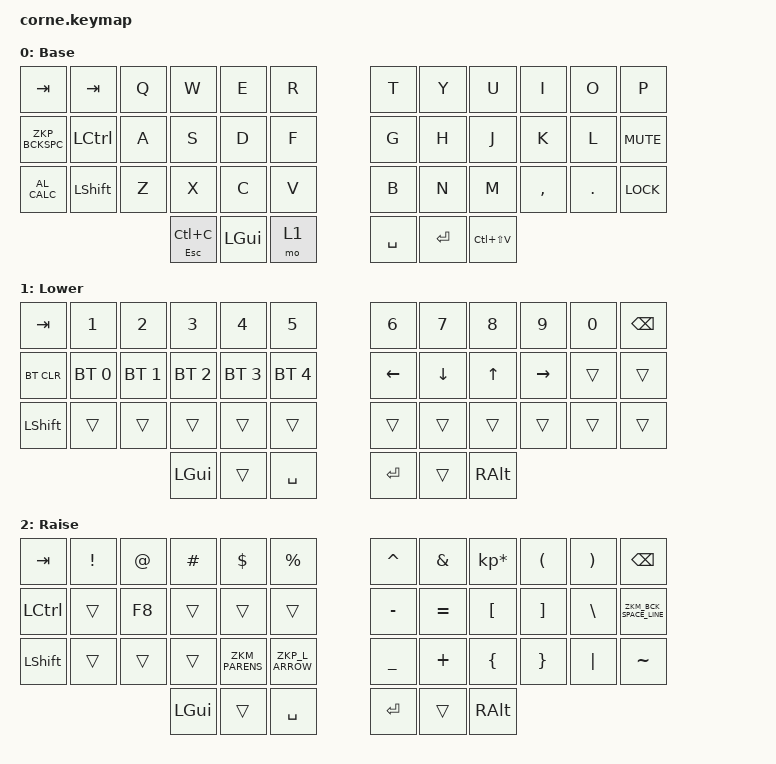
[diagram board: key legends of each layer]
/*
 * Copyright (c) 2020 The ZMK Contributors
 *
 * SPDX-License-Identifier: MIT
 */

#include <behaviors.dtsi>
#include <dt-bindings/zmk/bt.h>
#include <dt-bindings/zmk/keys.h>

/ {
    behaviors {
        ZBT_SEL_1: ZBT_SEL_1 {
            compatible = "zmk,behavior-tap-dance";
            label = "ZBT_SEL_1";
            #binding-cells = <0>;
            bindings = <&bt BT_SEL 1>, <&bt BT_CLR_ALL>;

            tapping-term-ms = <125>;
        };

        ZLAYER1: ZLAYER1 {
            compatible = "zmk,behavior-tap-dance";
            label = "ZLAYER1";
            #binding-cells = <0>;
            bindings = <&mo 1>, <&tog 2>;

            tapping-term-ms = <150>;
        };

        ZKP_BCKSPC: ZKP_BCKSPC {
            compatible = "zmk,behavior-tap-dance";
            label = "ZKP_BCKSPC";
            #binding-cells = <0>;
            bindings = <&kp BACKSPACE>, <&kp LC(BACKSPACE)>;

            tapping-term-ms = <200>;
        };

        ZKP_L_ARROW: ZKP_L_ARROW {
            compatible = "zmk,behavior-tap-dance";
            label = "ZKP_L_ARROW";
            #binding-cells = <0>;
            bindings = <&kp LEFT_ARROW>, <&kp LC(LS(LEFT_ARROW))>;

            tapping-term-ms = <200>;
        };

        ZKP_PARENS: ZKP_PARENS {
            compatible = "zmk,behavior-tap-dance";
            label = "ZKP_PARENS";
            #binding-cells = <0>;
            bindings = <&kp LEFT_PARENTHESIS>, <&ZKM_PARENS>;

            tapping-term-ms = <200>;
        };

        new_behavior: ZKP_9 {
            compatible = "zmk,behavior-mod-morph";
            label = "NEW_BEHAVIOR";
            bindings = <&kp N9>, <&unicode 2079>;

            #binding-cells = <0>;
            mods = <(MOD_LSFT)>;
            keep-mods = <(MOD_LSFT)>;
        };
    };

    macros {
        ZKM_PARENS: ZKM_PARENS {
            compatible = "zmk,behavior-macro";
            #binding-cells = <0>;
            bindings = <&kp LEFT_PARENTHESIS &kp RIGHT_PARENTHESIS &kp LEFT>;
            label = "ZKM_PARENS";
        };

        ZKM_BCK_SPACE_LINE: ZKM_BCK_SPACE_LINE {
            compatible = "zmk,behavior-macro";
            #binding-cells = <0>;
            bindings = <&kp LC(LS(LEFT)) &kp BACKSPACE>;
            label = "ZKM_BCK_SPACE_LINE";
        };
    };

    keymap {
        compatible = "zmk,keymap";

        default_layer {
            // -----------------------------------------------------------------------------------------
            // |  TAB | |  TAB |  Q  |  W  |  E  |  R  |  T  |   |  Y  |  U   |  I  |  O  |  P  | BKSP |
            // | CTRL |  A  |  S  |  D  |  F  |  G  |   |  H  |  J   |  K  |  L  |  ;  |  '   |
            // | SHFT |  Z  |  X  |  C  |  V  |  B  |   |  N  |  M   |  ,  |  .  |  /  | ESC  |
            //                    | GUI | LWR | SPC |   | ENT | RSE  | ALT |

            display-name = "Base";
            bindings = <
&kp TAB        &kp TAB    &kp Q  &kp W          &kp E     &kp R    &kp T      &kp Y    &kp U          &kp I      &kp O    &kp P
&ZKP_BCKSPC    &kp LCTRL  &kp A  &kp S          &kp D     &kp F    &kp G      &kp H    &kp J          &kp K      &kp L    &kp C_MUTE
&kp C_AL_CALC  &kp LSHFT  &kp Z  &kp X          &kp C     &kp V    &kp B      &kp N    &kp M          &kp COMMA  &kp DOT  &kp K_LOCK
                                 &mt ESC LC(C)  &kp LGUI  &mo 1    &kp SPACE  &kp RET  &kp LC(LS(V))
            >;
        };

        lower_layer {
            // -----------------------------------------------------------------------------------------
            // |  TAB |  1  |  2  |  3  |  4  |  5  |   |  6  |  7  |  8  |  9  |  0  | BKSP |
            // | BTCLR| BT1 | BT2 | BT3 | BT4 | BT5 |   | LFT | DWN |  UP | RGT |     |      |
            // | SHFT |     |     |     |     |     |   |     |     |     |     |     |      |
            //                    | GUI |     | SPC |   | ENT |     | ALT |

            display-name = "Lower";
            bindings = <
&kp TAB     &kp N1        &kp N2        &kp N3        &kp N4        &kp N5          &kp N6    &kp N7    &kp N8    &kp N9     &kp N0  &kp BSPC
&bt BT_CLR  &bt BT_SEL 0  &bt BT_SEL 1  &bt BT_SEL 2  &bt BT_SEL 3  &bt BT_SEL 4    &kp LEFT  &kp DOWN  &kp UP    &kp RIGHT  &trans  &trans
&kp LSHFT   &trans        &trans        &trans        &trans        &trans          &trans    &trans    &trans    &trans     &trans  &trans
                                        &kp LGUI      &trans        &kp SPACE       &kp RET   &trans    &kp RALT
            >;
        };

        raise_layer {
            // -----------------------------------------------------------------------------------------
            // |  TAB |  !  |  @  |  #  |  $  |  %  |   |  ^  |  &  |  *  |  (  |  )  | BKSP |
            // | CTRL |     |     |     |     |     |   |  -  |  =  |  [  |  ]  |  \  |  `   |
            // | SHFT |     |     |     |     |     |   |  _  |  +  |  {  |  }  | "|" |  ~   |
            //                    | GUI |     | SPC |   | ENT |     | ALT |

            display-name = "Raise";
            bindings = <
&kp TAB    &kp EXCL  &kp AT  &kp HASH  &kp DLLR     &kp PRCNT       &kp CARET  &kp AMPS   &kp KP_MULTIPLY  &kp LPAR  &kp RPAR  &kp BSPC
&kp LCTRL  &trans    &kp F8  &trans    &trans       &trans          &kp MINUS  &kp EQUAL  &kp LBKT         &kp RBKT  &kp BSLH  &ZKM_BCK_SPACE_LINE
&kp LSHFT  &trans    &trans  &trans    &ZKM_PARENS  &ZKP_L_ARROW    &kp UNDER  &kp PLUS   &kp LBRC         &kp RBRC  &kp PIPE  &kp TILDE
                             &kp LGUI  &trans       &kp SPACE       &kp RET    &trans     &kp RALT
            >;
        };

        extra_1 { status = "reserved"; };

        extra_2 { status = "reserved"; };

        extra_3 { status = "reserved"; };
    };
};
